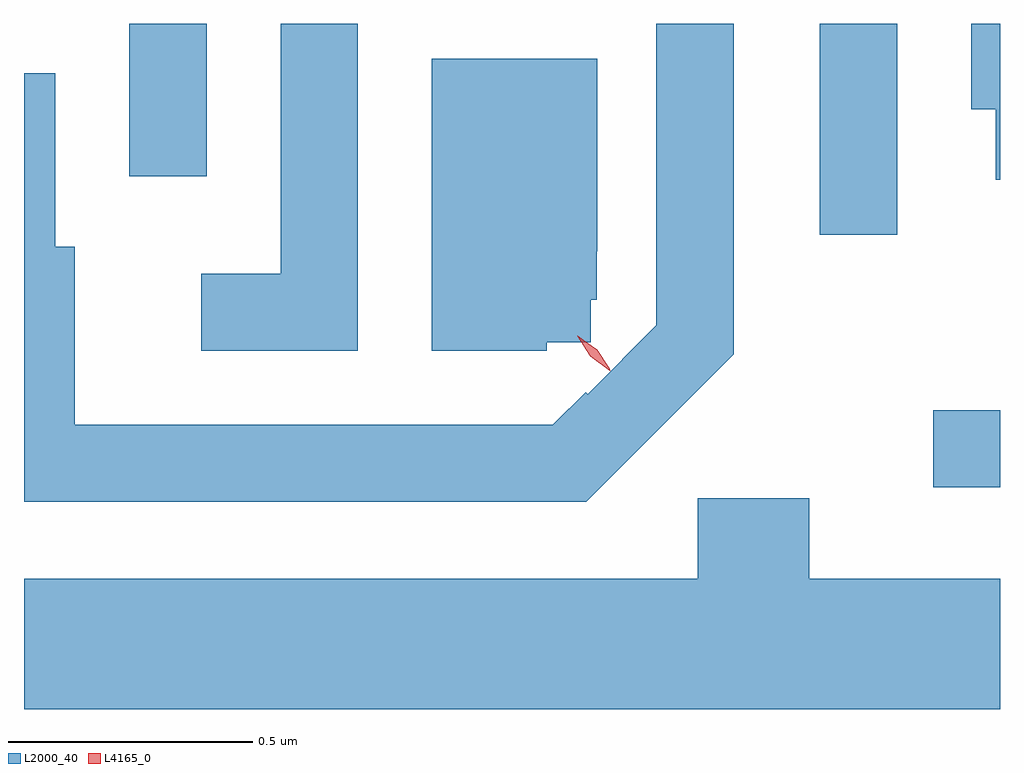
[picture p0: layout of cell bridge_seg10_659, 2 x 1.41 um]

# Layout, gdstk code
import gdstk
lib = gdstk.Library(unit=1e-6, precision=1e-09)
def R(c, l, rs):  # rectangles x0, y0, x1, y1
    for r in rs: c.add(gdstk.rectangle(r[:2], r[2:], *l))
def P(c, l, *ps):  # polygons
    for p in ps: c.add(gdstk.Polygon(p, *l))
L2000_40 = (2000, 40)
L4165_0 = (4165, 0)

bridge_seg10_659 = lib.new_cell('bridge_seg10_659')
R(bridge_seg10_659, L2000_40, [(659.858,2103.271,659.995,2103.429), (659.626,2103.788,659.784,2104.221), (658.211,2103.908,658.369,2104.221)])
P(bridge_seg10_659, L2000_40, [(659.449,2103.544),(659.449,2104.221),(659.291,2104.221),(659.291,2103.603),(659.15,2103.462),(659.146,2103.466),(659.079,2103.399),(658.099,2103.399),(658.099,2103.764),(658.059,2103.764),(658.059,2104.119),(657.995,2104.119),(657.995,2103.241),(659.147,2103.241)],
  [(658.679,2104.221),(658.521,2104.221),(658.521,2103.709),(658.358,2103.709),(658.358,2103.551),(658.679,2103.551)],
  [(659.995,2104.221),(659.936,2104.221),(659.936,2104.046),(659.986,2104.046),(659.986,2103.901),(659.995,2103.901)],
  [(659.066,2103.568),(659.156,2103.568),(659.156,2103.655),(659.169,2103.655),(659.169,2103.755),(659.17,2103.755),(659.17,2104.149),(658.831,2104.149),(658.831,2103.551),(659.066,2103.551)],
  [(659.995,2103.084),(659.604,2103.084),(659.604,2103.249),(659.376,2103.249),(659.376,2103.084),(657.995,2103.084),(657.995,2102.816),(659.995,2102.816)])
P(bridge_seg10_659, L4165_0, [(659.194,2103.513),(659.156,2103.539),(659.131,2103.579),(659.131,2103.579),(659.132,2103.579),(659.17,2103.553),(659.195,2103.514),(659.195,2103.513)],
  [(659.195,2103.51),(659.155,2103.539),(659.129,2103.581),(659.129,2103.582),(659.13,2103.582),(659.169,2103.552),(659.196,2103.511),(659.196,2103.51)])

lib.write_gds('bridge_seg10_659.gds')
